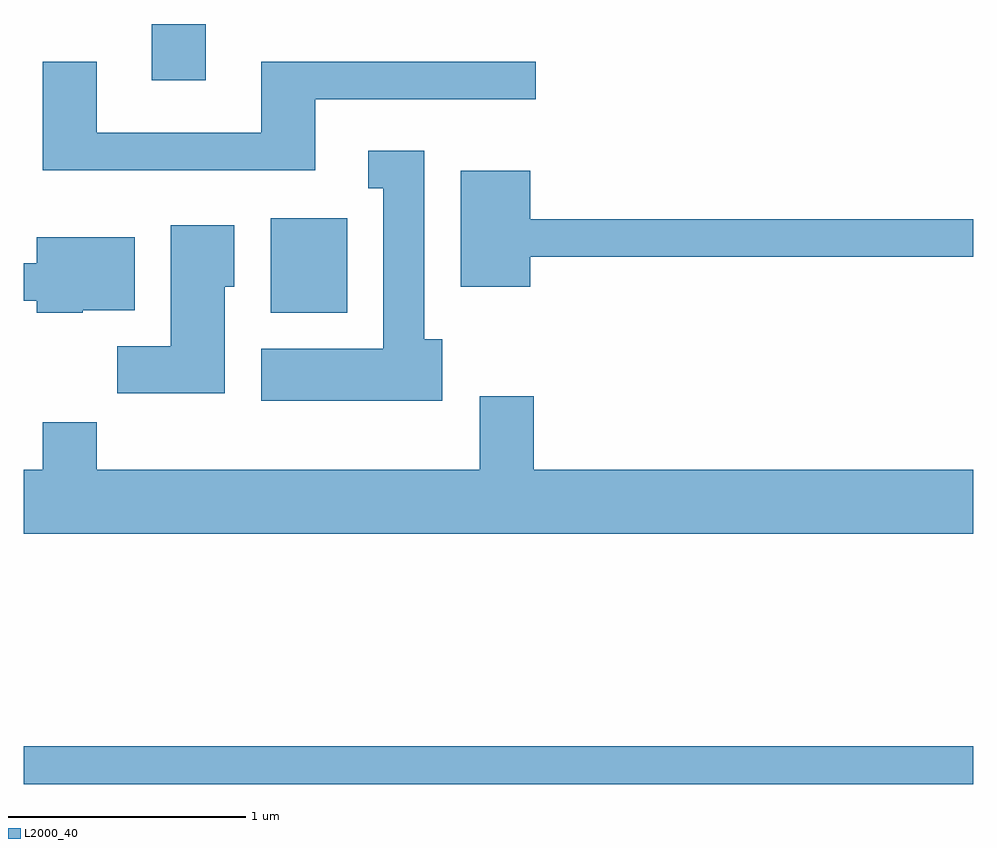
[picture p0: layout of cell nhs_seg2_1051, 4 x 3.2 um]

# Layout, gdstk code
import gdstk
lib = gdstk.Library(unit=1e-6, precision=1e-09)
def R(c, l, rs):  # rectangles x0, y0, x1, y1
    for r in rs: c.add(gdstk.rectangle(r[:2], r[2:], *l))
def P(c, l, *ps):  # polygons
    for p in ps: c.add(gdstk.Polygon(p, *l))
L2000_40 = (2000, 40)

nhs_seg2_1051 = lib.new_cell('nhs_seg2_1051')
R(nhs_seg2_1051, L2000_40, [(215.611,1040.601,219.611,1040.759), (216.651,1042.586,216.974,1042.984), (216.151,1043.566,216.379,1043.802)])
P(nhs_seg2_1051, L2000_40, [(216.839,1043.486),(217.768,1043.486),(217.768,1043.644),(216.611,1043.644),(216.611,1043.344),(215.919,1043.344),(215.919,1043.644),(215.691,1043.644),(215.691,1043.186),(216.839,1043.186)],
  [(217.374,1042.474),(217.299,1042.474),(217.299,1043.269),(217.063,1043.269),(217.063,1043.111),(217.126,1043.111),(217.126,1042.434),(216.611,1042.434),(216.611,1042.216),(217.374,1042.216)],
  [(217.744,1042.821),(219.611,1042.821),(219.611,1042.979),(217.744,1042.979),(217.744,1043.184),(217.451,1043.184),(217.451,1042.696),(217.744,1042.696)],
  [(216.459,1042.696),(216.499,1042.696),(216.499,1042.954),(216.231,1042.954),(216.231,1042.444),(216.006,1042.444),(216.006,1042.246),(216.459,1042.246)],
  [(215.86,1042.596),(216.079,1042.596),(216.079,1042.904),(215.666,1042.904),(215.666,1042.794),(215.611,1042.794),(215.611,1042.636),(215.666,1042.636),(215.666,1042.586),(215.86,1042.586)],
  [(219.611,1041.924),(217.759,1041.924),(217.759,1042.234),(217.531,1042.234),(217.531,1041.924),(215.919,1041.924),(215.919,1042.124),(215.691,1042.124),(215.691,1041.924),(215.611,1041.924),(215.611,1041.656),(219.611,1041.656)])

lib.write_gds('nhs_seg2_1051.gds')
